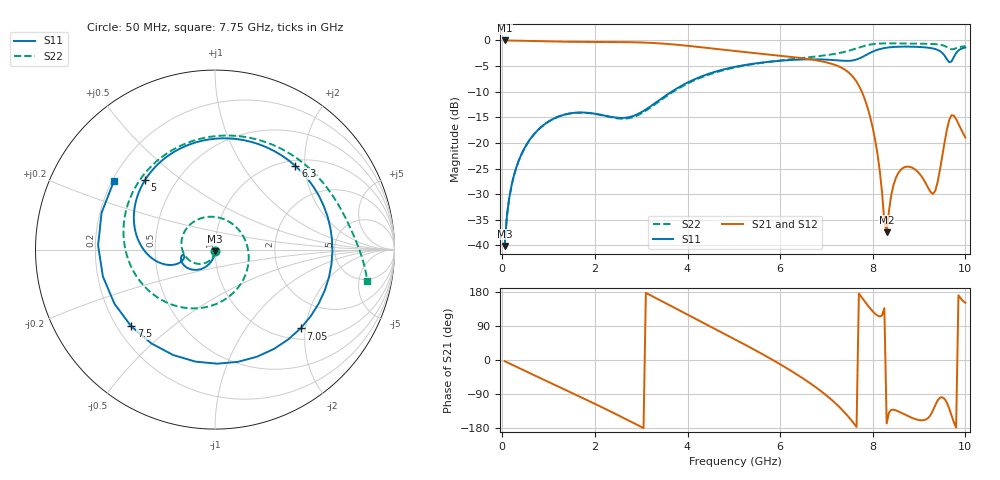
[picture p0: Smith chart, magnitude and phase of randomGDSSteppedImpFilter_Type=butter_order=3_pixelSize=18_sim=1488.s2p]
! freq	dB(S11)	phase(S11)	dB(S12)	phase(S12)
!  dB(S21)	phase(S21)	dB(S22)	phase(S22)
!S-par simulation data
#  GHz  S  DB  R 50
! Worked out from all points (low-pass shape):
!   200 points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, 50 MHz to 10 GHz, reference 50 ohm
!   highest |S21| = -0.01 dB at 50 MHz (marker M1); lowest = -37.5 dB at 8.3 GHz (marker M2)
!   |S21| within 3 dB of the highest: start of sweep to 6.031 GHz
!   lowest |S11| = -40.1 dB at 50 MHz (marker M3), VSWR 1.02, Z = 50 - j0.983 ohm
!   |S11| at or under -10 dB: start of sweep to 3.658 GHz
!   |S22| runs from -40.2 to -0.6 dB; largest |S21 - S12| = 0
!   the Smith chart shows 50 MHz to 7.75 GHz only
!   S11 on the Smith chart (normalised r, x): 50 MHz: 1.00, -0.02; 5 GHz: 0.34, +0.37; 6.3 GHz: 1.11, +1.79; 7.05 GHz: 1.24, -1.88; 7.5 GHz: 0.26, -0.37; 7.75 GHz: 0.21, +0.29
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0.05  -40.14 -91.2  -0.01 -3.0  -0.01 -3.0  -40.16 -92.4
0.2  -28.29 -99.3  -0.03 -11.8  -0.03 -11.8  -28.31 -104.1
0.5  -20.70 -113.7  -0.08 -29.3  -0.08 -29.3  -20.73 -125.8
1.75  -14.07 -162.4  -0.29 -101.2  -0.29 -101.2  -14.10 138.8
2.65  -15.10 -166.8  -0.33 -154.7  -0.33 -154.7  -15.27 36.6
3.4  -11.59 -161.0  -0.58 158.1  -0.58 158.1  -11.81 -64.1
4.2  -7.40 173.9  -1.24 107.1  -1.24 107.1  -7.58 -140.8
5  -5.20 135.2  -2.04 56.1  -2.04 56.1  -5.33 156.3
5.05  -5.11 132.5  -2.09 52.9  -2.09 52.9  -5.23 152.5
6.3  -3.79 46.2  -3.27 -33.4  -3.27 -33.4  -3.61 66.3
6.7  -3.68 5.0  -3.76 -65.8  -3.76 -65.8  -3.21 42.3
7.05  -3.77 -42.7  -4.41 -98.6  -4.41 -98.6  -2.81 23.3
7.5  -3.97 -137.6  -6.43 -153.4  -6.43 -153.4  -1.97 1.3
7.75  -3.35 146.0  -9.74 167.1  -9.74 167.1  -1.25 -11.8
8  -2.18 70.2  -17.11 128.3  -17.11 128.3  -0.72 -26.8
8.3  -1.41 1.9  -37.48 -167.6  -37.48 -167.6  -0.57 -44.0
8.35  -1.36 -7.2  -33.26 -138.5  -33.26 -138.5  -0.57 -46.6
8.55  -1.23 -39.1  -25.90 -135.5  -25.90 -135.5  -0.58 -56.7
8.95  -1.26 -88.6  -25.46 -157.1  -25.46 -157.1  -0.63 -75.1
9.3  -1.57 -124.4  -29.96 -133.2  -29.96 -133.2  -0.70 -90.7
9.7  -4.10 -143.4  -14.59 -146.5  -14.59 -146.5  -1.74 -105.8
10  -1.39 -165.0  -18.97 151.0  -18.97 151.0  -1.13 -113.8
